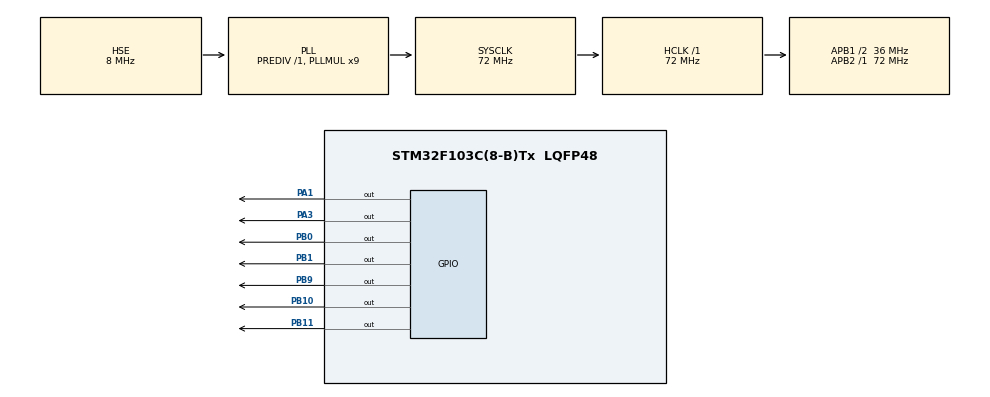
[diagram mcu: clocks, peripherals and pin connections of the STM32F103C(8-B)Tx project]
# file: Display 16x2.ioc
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Mcu.Family=STM32F1
Mcu.Name=STM32F103C(8-B)Tx
Mcu.Package=LQFP48
NVIC.PriorityGroup=NVIC_PRIORITYGROUP_4
PA1.Signal=GPIO_Output
PA13.Mode=Serial_Wire
PA13.Signal=SYS_JTMS-SWDIO
PA14.Mode=Serial_Wire
PA14.Signal=SYS_JTCK-SWCLK
PA3.Signal=GPIO_Output
PB0.Signal=GPIO_Output
PB1.Signal=GPIO_Output
PB10.Signal=GPIO_Output
PB11.Signal=GPIO_Output
PB9.Signal=GPIO_Output
PD0-OSC_IN.Mode=HSE-External-Oscillator
PD0-OSC_IN.Signal=RCC_OSC_IN
PD1-OSC_OUT.Mode=HSE-External-Oscillator
PD1-OSC_OUT.Signal=RCC_OSC_OUT
ProjectManager.HeapSize=0x200
ProjectManager.StackSize=0x400
ProjectManager.TargetToolchain=STM32CubeIDE
RCC.AHBFreq_Value=72000000
RCC.APB1CLKDivider=RCC_HCLK_DIV2
RCC.APB1Freq_Value=36000000
RCC.APB1TimFreq_Value=72000000
RCC.APB2Freq_Value=72000000
RCC.APB2TimFreq_Value=72000000
RCC.HCLKFreq_Value=72000000
RCC.PLLMUL=RCC_PLL_MUL9
RCC.PLLSourceVirtual=RCC_PLLSOURCE_HSE
RCC.SYSCLKFreq_VALUE=72000000
RCC.SYSCLKSource=RCC_SYSCLKSOURCE_PLLCLK
RCC.USBFreq_Value=72000000
TIM1.Prescaler=71
VP_TIM1_VS_ClockSourceINT.Mode=Internal
board=custom

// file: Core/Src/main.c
/* USER CODE BEGIN Header */
/**
  ******************************************************************************
  * @file           : main.c
  * @brief          : Main program body
  ******************************************************************************
  * @attention
  *
  * <h2><center>&copy; Copyright (c) 2021 STMicroelectronics.
  * All rights reserved.</center></h2>
  *
  * This software component is licensed by ST under BSD 3-Clause license,
  * the "License"; You may not use this file except in compliance with the
  * License. You may obtain a copy of the License at:
  *                        opensource.org/licenses/BSD-3-Clause
  *
  ******************************************************************************
  */
/* USER CODE END Header */
#include "main.h"

/* USER CODE BEGIN Includes */
#include "lcd.h"
/* USER CODE END Includes */

TIM_HandleTypeDef htim1;

void SystemClock_Config(void);
static void MX_GPIO_Init(void);
static void MX_TIM1_Init(void);

/* USER CODE BEGIN 0 */
#define DHT22_PORT GPIOB
#define DHT22_PIN GPIO_PIN_9
uint8_t RH1, RH2, TC1, TC2, SUM, CHECK;
uint32_t pMillis, cMillis;
float tCelsius = 0;
float tFahrenheit = 0;
float RH = 0;

void microDelay (uint16_t delay)
{
  __HAL_TIM_SET_COUNTER(&htim1, 0);
  while (__HAL_TIM_GET_COUNTER(&htim1) < delay);
}

uint8_t DHT22_Start (void)
{
  uint8_t Response = 0;
  GPIO_InitTypeDef GPIO_InitStructPrivate = {0};
  GPIO_InitStructPrivate.Pin = DHT22_PIN;
  GPIO_InitStructPrivate.Mode = GPIO_MODE_OUTPUT_PP;
  GPIO_InitStructPrivate.Speed = GPIO_SPEED_FREQ_LOW;
  GPIO_InitStructPrivate.Pull = GPIO_NOPULL;
  HAL_GPIO_Init(DHT22_PORT, &GPIO_InitStructPrivate); // set the pin as output
  HAL_GPIO_WritePin (DHT22_PORT, DHT22_PIN, 0);   // pull the pin low
  microDelay (1300);   // wait for 1300us
  HAL_GPIO_WritePin (DHT22_PORT, DHT22_PIN, 1);   // pull the pin high
  microDelay (30);   // wait for 30us
  GPIO_InitStructPrivate.Mode = GPIO_MODE_INPUT;
  GPIO_InitStructPrivate.Pull = GPIO_PULLUP;
  HAL_GPIO_Init(DHT22_PORT, &GPIO_InitStructPrivate); // set the pin as input
  microDelay (40);
  if (!(HAL_GPIO_ReadPin (DHT22_PORT, DHT22_PIN)))
  {
    microDelay (80);
    if ((HAL_GPIO_ReadPin (DHT22_PORT, DHT22_PIN))) Response = 1;
  }
  pMillis = HAL_GetTick();
  cMillis = HAL_GetTick();
  while ((HAL_GPIO_ReadPin (DHT22_PORT, DHT22_PIN)) && pMillis + 2 > cMillis)
  {
    cMillis = HAL_GetTick();
  }
  return Response;
}

uint8_t DHT22_Read (void)
{
  uint8_t a,b;
  for (a=0;a<8;a++)
  {
    pMillis = HAL_GetTick();
    cMillis = HAL_GetTick();
    while (!(HAL_GPIO_ReadPin (DHT22_PORT, DHT22_PIN)) && pMillis + 2 > cMillis)
    {  // wait for the pin to go high
      cMillis = HAL_GetTick();
    }
    microDelay (40);   // wait for 40 us
    if (!(HAL_GPIO_ReadPin (DHT22_PORT, DHT22_PIN)))   // if the pin is low
      b&= ~(1<<(7-a));
    else
      b|= (1<<(7-a));
    pMillis = HAL_GetTick();
    cMillis = HAL_GetTick();
    while ((HAL_GPIO_ReadPin (DHT22_PORT, DHT22_PIN)) && pMillis + 2 > cMillis)
    {  // wait for the pin to go low
      cMillis = HAL_GetTick();
    }
  }
  return b;
}
/* USER CODE END 0 */

int main(void)
{

  /* MCU Configuration--------------------------------------------------------*/

  /* Reset of all peripherals, Initializes the Flash interface and the Systick. */
  HAL_Init();

  /* Configure the system clock */
  SystemClock_Config();

  /* Initialize all configured peripherals */
  MX_GPIO_Init();
  MX_TIM1_Init();
  /* USER CODE BEGIN 2 */
  HAL_TIM_Base_Start(&htim1);
  // Lcd_PortType ports[] = { D4_GPIO_Port, D5_GPIO_Port, D6_GPIO_Port, D7_GPIO_Port };
  Lcd_PortType ports[] = { GPIOB, GPIOB, GPIOB, GPIOB };
  // Lcd_PinType pins[] = {D4_Pin, D5_Pin, D6_Pin, D7_Pin};
  Lcd_PinType pins[] = {GPIO_PIN_0, GPIO_PIN_1, GPIO_PIN_10, GPIO_PIN_11};
  Lcd_HandleTypeDef lcd;
  // Lcd_create(ports, pins, RS_GPIO_Port, RS_Pin, EN_GPIO_Port, EN_Pin, LCD_4_BIT_MODE);
  lcd = Lcd_create(ports, pins, GPIOA, GPIO_PIN_1, GPIOA, GPIO_PIN_3, LCD_4_BIT_MODE);
  /*Lcd_cursor(&lcd, 0,1);
  Lcd_string(&lcd,"João Lucas");
  for ( int x = 1; x <= 200 ; x++ )
  {
    Lcd_cursor(&lcd, 1,7);
    Lcd_int(&lcd, x);
    HAL_Delay (1000);
  }*/
  /* USER CODE END 2 */

  /* Infinite loop */
  /* USER CODE BEGIN WHILE */
  while (1)
  {
	  if(DHT22_Start())
	  {
		  RH1 = DHT22_Read(); // First 8bits of humidity
	      RH2 = DHT22_Read(); // Second 8bits of Relative humidity
	      TC1 = DHT22_Read(); // First 8bits of Celsius
	      TC2 = DHT22_Read(); // Second 8bits of Celsius
	      SUM = DHT22_Read(); // Check sum
	      CHECK = RH1 + RH2 + TC1 + TC2;
	      if (CHECK == SUM)
	      {
	        if (TC1>127) // If TC1=10000000, negative temperature
	        {
	          tCelsius = (float)TC2/10*(-1);
	        }
	        else
	        {
	          tCelsius = (float)((TC1<<8)|TC2)/10;
	        }
	        tFahrenheit = tCelsius * 9/5 + 32;
	        RH = (float) ((RH1<<8)|RH2)/10;
	      }
	    }
	  	Lcd_cursor(&lcd, 0,1);
	    Lcd_string(&lcd,"Temperatura");
	    Lcd_cursor(&lcd, 1,1);
	    Lcd_float(&lcd, tCelsius);
	    HAL_Delay(200);
    /* USER CODE END WHILE */

  }
}

void SystemClock_Config(void)
{
  RCC_OscInitTypeDef RCC_OscInitStruct = {0};
  RCC_ClkInitTypeDef RCC_ClkInitStruct = {0};

  /** Initializes the RCC Oscillators according to the specified parameters
  * in the RCC_OscInitTypeDef structure.
  */
  RCC_OscInitStruct.OscillatorType = RCC_OSCILLATORTYPE_HSE;
  RCC_OscInitStruct.HSEState = RCC_HSE_ON;
  RCC_OscInitStruct.HSEPredivValue = RCC_HSE_PREDIV_DIV1;
  RCC_OscInitStruct.HSIState = RCC_HSI_ON;
  RCC_OscInitStruct.PLL.PLLState = RCC_PLL_ON;
  RCC_OscInitStruct.PLL.PLLSource = RCC_PLLSOURCE_HSE;
  RCC_OscInitStruct.PLL.PLLMUL = RCC_PLL_MUL9;
  if (HAL_RCC_OscConfig(&RCC_OscInitStruct) != HAL_OK)
  {
    Error_Handler();
  }
  /** Initializes the CPU, AHB and APB buses clocks
  */
  RCC_ClkInitStruct.ClockType = RCC_CLOCKTYPE_HCLK|RCC_CLOCKTYPE_SYSCLK
                              |RCC_CLOCKTYPE_PCLK1|RCC_CLOCKTYPE_PCLK2;
  RCC_ClkInitStruct.SYSCLKSource = RCC_SYSCLKSOURCE_PLLCLK;
  RCC_ClkInitStruct.AHBCLKDivider = RCC_SYSCLK_DIV1;
  RCC_ClkInitStruct.APB1CLKDivider = RCC_HCLK_DIV2;
  RCC_ClkInitStruct.APB2CLKDivider = RCC_HCLK_DIV1;

  if (HAL_RCC_ClockConfig(&RCC_ClkInitStruct, FLASH_LATENCY_2) != HAL_OK)
  {
    Error_Handler();
  }
}

static void MX_TIM1_Init(void)
{

  TIM_ClockConfigTypeDef sClockSourceConfig = {0};
  TIM_MasterConfigTypeDef sMasterConfig = {0};

  htim1.Instance = TIM1;
  htim1.Init.Prescaler = 71;
  htim1.Init.CounterMode = TIM_COUNTERMODE_UP;
  htim1.Init.Period = 65535;
  htim1.Init.ClockDivision = TIM_CLOCKDIVISION_DIV1;
  htim1.Init.RepetitionCounter = 0;
  htim1.Init.AutoReloadPreload = TIM_AUTORELOAD_PRELOAD_DISABLE;
  if (HAL_TIM_Base_Init(&htim1) != HAL_OK)
  {
    Error_Handler();
  }
  sClockSourceConfig.ClockSource = TIM_CLOCKSOURCE_INTERNAL;
  if (HAL_TIM_ConfigClockSource(&htim1, &sClockSourceConfig) != HAL_OK)
  {
    Error_Handler();
  }
  sMasterConfig.MasterOutputTrigger = TIM_TRGO_RESET;
  sMasterConfig.MasterSlaveMode = TIM_MASTERSLAVEMODE_DISABLE;
  if (HAL_TIMEx_MasterConfigSynchronization(&htim1, &sMasterConfig) != HAL_OK)
  {
    Error_Handler();
  }

}

static void MX_GPIO_Init(void)
{
  GPIO_InitTypeDef GPIO_InitStruct = {0};

  /* GPIO Ports Clock Enable */
  __HAL_RCC_GPIOD_CLK_ENABLE();
  __HAL_RCC_GPIOA_CLK_ENABLE();
  __HAL_RCC_GPIOB_CLK_ENABLE();

  /*Configure GPIO pin Output Level */
  HAL_GPIO_WritePin(GPIOA, GPIO_PIN_1|GPIO_PIN_3, GPIO_PIN_RESET);

  /*Configure GPIO pin Output Level */
  HAL_GPIO_WritePin(GPIOB, GPIO_PIN_0|GPIO_PIN_1|GPIO_PIN_10|GPIO_PIN_11
                          |GPIO_PIN_9, GPIO_PIN_RESET);

  /*Configure GPIO pins : PA1 PA3 */
  GPIO_InitStruct.Pin = GPIO_PIN_1|GPIO_PIN_3;
  GPIO_InitStruct.Mode = GPIO_MODE_OUTPUT_PP;
  GPIO_InitStruct.Pull = GPIO_NOPULL;
  GPIO_InitStruct.Speed = GPIO_SPEED_FREQ_LOW;
  HAL_GPIO_Init(GPIOA, &GPIO_InitStruct);

  /*Configure GPIO pins : PB0 PB1 PB10 PB11
                           PB9 */
  GPIO_InitStruct.Pin = GPIO_PIN_0|GPIO_PIN_1|GPIO_PIN_10|GPIO_PIN_11
                          |GPIO_PIN_9;
  GPIO_InitStruct.Mode = GPIO_MODE_OUTPUT_PP;
  GPIO_InitStruct.Pull = GPIO_NOPULL;
  GPIO_InitStruct.Speed = GPIO_SPEED_FREQ_LOW;
  HAL_GPIO_Init(GPIOB, &GPIO_InitStruct);

}

void Error_Handler(void)
{
  __disable_irq();
  while (1)
  {
  }
}

/************************ (C) COPYRIGHT STMicroelectronics *****END OF FILE****/
